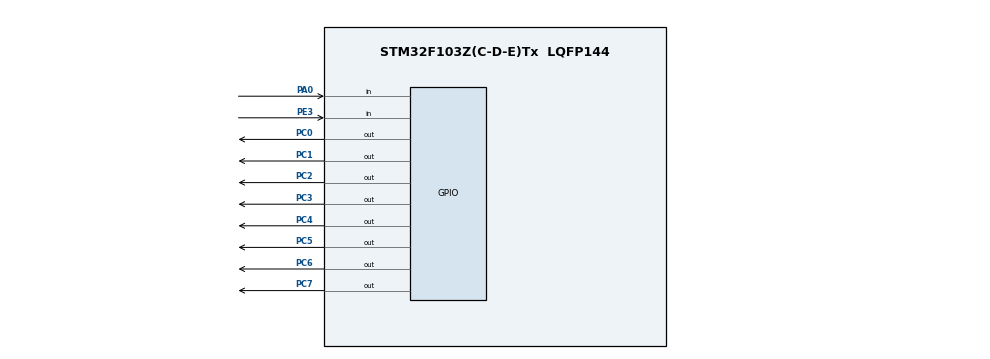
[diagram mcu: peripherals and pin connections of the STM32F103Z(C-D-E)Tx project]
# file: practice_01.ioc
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FREERTOS.BinarySemaphores01=myBinarySem01,Dynamic,NULL
FREERTOS.Queues01=myQueue01,16,uint16_t,0,Dynamic,NULL,NULL
FREERTOS.Tasks01=defaultTask,24,128,StartDefaultTask,Default,NULL,Dynamic,NULL,NULL;myTask02,40,128,StartTask02,Default,NULL,Dynamic,NULL,NULL;myTask03,8,128,StartTask03,Default,NULL,Dynamic,NULL,NULL;myTask04,8,128,StartTask04,Default,NULL,Dynamic,NULL,NULL
Mcu.Family=STM32F1
Mcu.Name=STM32F103Z(C-D-E)Tx
Mcu.Package=LQFP144
NVIC.PriorityGroup=NVIC_PRIORITYGROUP_4
PA0-WKUP.GPIO_PuPd=GPIO_PULLDOWN
PA0-WKUP.Signal=GPIO_Input
PC0.Signal=GPIO_Output
PC1.Signal=GPIO_Output
PC2.Signal=GPIO_Output
PC3.Signal=GPIO_Output
PC4.Signal=GPIO_Output
PC5.Signal=GPIO_Output
PC6.Signal=GPIO_Output
PC7.Signal=GPIO_Output
PE3.GPIO_PuPd=GPIO_PULLUP
PE3.Signal=GPIO_Input
ProjectManager.HeapSize=0x200
ProjectManager.StackSize=0x400
ProjectManager.TargetToolchain=STM32CubeIDE
RCC.APB1Freq_Value=8000000
RCC.APB2Freq_Value=8000000
VP_FREERTOS_VS_CMSIS_V2.Mode=CMSIS_V2
VP_SYS_VS_ND.Mode=No_Debug
board=custom

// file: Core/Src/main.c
/* USER CODE BEGIN Header */
/**
  ******************************************************************************
  * @file           : main.c
  * @brief          : Main program body
  ******************************************************************************
  * @attention
  *
  * Copyright (c) 2023 STMicroelectronics.
  * All rights reserved.
  *
  * This software is licensed under terms that can be found in the LICENSE file
  * in the root directory of this software component.
  * If no LICENSE file comes with this software, it is provided AS-IS.
  *
  ******************************************************************************
  */
/* USER CODE END Header */
#include "main.h"
#include "cmsis_os.h"

/* USER CODE BEGIN PD */
int counter = 0;

const int digit[7][10] = {
		{1,0,1,1,0,1,1,1,1,1},
		{1,1,1,1,1,0,0,1,1,1},
		{1,1,0,1,1,1,1,1,1,1},
		{1,0,1,1,0,1,1,0,1,1},
		{1,0,1,0,0,0,1,0,1,0},
		{1,0,0,0,1,1,1,0,1,1},
		{0,0,1,1,1,1,1,0,1,1}
};
/* USER CODE END PD */

/* Definitions for defaultTask */
osThreadId_t defaultTaskHandle;
const osThreadAttr_t defaultTask_attributes = {
  .name = "defaultTask",
  .stack_size = 128 * 4,
  .priority = (osPriority_t) osPriorityNormal,
};
/* Definitions for myTask02 */
osThreadId_t myTask02Handle;
const osThreadAttr_t myTask02_attributes = {
  .name = "myTask02",
  .stack_size = 128 * 4,
  .priority = (osPriority_t) osPriorityHigh,
};
/* Definitions for myTask03 */
osThreadId_t myTask03Handle;
const osThreadAttr_t myTask03_attributes = {
  .name = "myTask03",
  .stack_size = 128 * 4,
  .priority = (osPriority_t) osPriorityLow,
};
/* Definitions for myTask04 */
osThreadId_t myTask04Handle;
const osThreadAttr_t myTask04_attributes = {
  .name = "myTask04",
  .stack_size = 128 * 4,
  .priority = (osPriority_t) osPriorityLow,
};
/* Definitions for myQueue01 */
osMessageQueueId_t myQueue01Handle;
const osMessageQueueAttr_t myQueue01_attributes = {
  .name = "myQueue01"
};
/* Definitions for myBinarySem01 */
osSemaphoreId_t myBinarySem01Handle;
const osSemaphoreAttr_t myBinarySem01_attributes = {
  .name = "myBinarySem01"
};

void SystemClock_Config(void);
static void MX_GPIO_Init(void);
void StartDefaultTask(void *argument);
void StartTask02(void *argument);
void StartTask03(void *argument);
void StartTask04(void *argument);

int main(void)
{

  /* MCU Configuration--------------------------------------------------------*/

  /* Reset of all peripherals, Initializes the Flash interface and the Systick. */
  HAL_Init();

  /* Configure the system clock */
  SystemClock_Config();

  /* Initialize all configured peripherals */
  MX_GPIO_Init();

  /* Init scheduler */
  osKernelInitialize();

  /* Create the semaphores(s) */
  /* creation of myBinarySem01 */
  myBinarySem01Handle = osSemaphoreNew(1, 1, &myBinarySem01_attributes);

  /* Create the queue(s) */
  /* creation of myQueue01 */
  myQueue01Handle = osMessageQueueNew (16, sizeof(uint16_t), &myQueue01_attributes);

  /* Create the thread(s) */
  /* creation of defaultTask */
  defaultTaskHandle = osThreadNew(StartDefaultTask, NULL, &defaultTask_attributes);

  /* creation of myTask02 */
  myTask02Handle = osThreadNew(StartTask02, NULL, &myTask02_attributes);

  /* creation of myTask03 */
  myTask03Handle = osThreadNew(StartTask03, NULL, &myTask03_attributes);

  /* creation of myTask04 */
  myTask04Handle = osThreadNew(StartTask04, NULL, &myTask04_attributes);

  /* Start scheduler */
  osKernelStart();

  /* We should never get here as control is now taken by the scheduler */
  /* Infinite loop */
  while (1)
  {

  }
}

void SystemClock_Config(void)
{
  RCC_OscInitTypeDef RCC_OscInitStruct = {0};
  RCC_ClkInitTypeDef RCC_ClkInitStruct = {0};

  /** Initializes the RCC Oscillators according to the specified parameters
  * in the RCC_OscInitTypeDef structure.
  */
  RCC_OscInitStruct.OscillatorType = RCC_OSCILLATORTYPE_HSI;
  RCC_OscInitStruct.HSIState = RCC_HSI_ON;
  RCC_OscInitStruct.HSICalibrationValue = RCC_HSICALIBRATION_DEFAULT;
  RCC_OscInitStruct.PLL.PLLState = RCC_PLL_NONE;
  if (HAL_RCC_OscConfig(&RCC_OscInitStruct) != HAL_OK)
  {
    Error_Handler();
  }

  /** Initializes the CPU, AHB and APB buses clocks
  */
  RCC_ClkInitStruct.ClockType = RCC_CLOCKTYPE_HCLK|RCC_CLOCKTYPE_SYSCLK
                              |RCC_CLOCKTYPE_PCLK1|RCC_CLOCKTYPE_PCLK2;
  RCC_ClkInitStruct.SYSCLKSource = RCC_SYSCLKSOURCE_HSI;
  RCC_ClkInitStruct.AHBCLKDivider = RCC_SYSCLK_DIV1;
  RCC_ClkInitStruct.APB1CLKDivider = RCC_HCLK_DIV1;
  RCC_ClkInitStruct.APB2CLKDivider = RCC_HCLK_DIV1;

  if (HAL_RCC_ClockConfig(&RCC_ClkInitStruct, FLASH_LATENCY_0) != HAL_OK)
  {
    Error_Handler();
  }
}

static void MX_GPIO_Init(void)
{
  GPIO_InitTypeDef GPIO_InitStruct = {0};

  /* GPIO Ports Clock Enable */
  __HAL_RCC_GPIOE_CLK_ENABLE();
  __HAL_RCC_GPIOC_CLK_ENABLE();
  __HAL_RCC_GPIOA_CLK_ENABLE();

  /*Configure GPIO pin Output Level */
  HAL_GPIO_WritePin(GPIOC, GPIO_PIN_0|GPIO_PIN_1|GPIO_PIN_2|GPIO_PIN_3
                          |GPIO_PIN_4|GPIO_PIN_5|GPIO_PIN_6|GPIO_PIN_7, GPIO_PIN_RESET);

  /*Configure GPIO pin : PE3 */
  GPIO_InitStruct.Pin = GPIO_PIN_3;
  GPIO_InitStruct.Mode = GPIO_MODE_INPUT;
  GPIO_InitStruct.Pull = GPIO_PULLUP;
  HAL_GPIO_Init(GPIOE, &GPIO_InitStruct);

  /*Configure GPIO pins : PC0 PC1 PC2 PC3
                           PC4 PC5 PC6 PC7 */
  GPIO_InitStruct.Pin = GPIO_PIN_0|GPIO_PIN_1|GPIO_PIN_2|GPIO_PIN_3
                          |GPIO_PIN_4|GPIO_PIN_5|GPIO_PIN_6|GPIO_PIN_7;
  GPIO_InitStruct.Mode = GPIO_MODE_OUTPUT_PP;
  GPIO_InitStruct.Pull = GPIO_NOPULL;
  GPIO_InitStruct.Speed = GPIO_SPEED_FREQ_LOW;
  HAL_GPIO_Init(GPIOC, &GPIO_InitStruct);

  /*Configure GPIO pin : PA0 */
  GPIO_InitStruct.Pin = GPIO_PIN_0;
  GPIO_InitStruct.Mode = GPIO_MODE_INPUT;
  GPIO_InitStruct.Pull = GPIO_PULLDOWN;
  HAL_GPIO_Init(GPIOA, &GPIO_InitStruct);

}

/* USER CODE BEGIN 4 */
void HAL_GPIO_EXTI_Callback(uint16_t GPIO_Pin)
{
//  if(GPIO_Pin == GPIO_PIN_0)
//  {
//	  if(counter < 9)
//		  counter++;
//  } else if (GPIO_Pin == GPIO_PIN_3)
//  {
//	  if(counter > 0)
//		  counter--;
//  }

/*  HAL_GPIO_WritePin(GPIOC, GPIO_PIN_0, digit[0][counter]^1);
  HAL_GPIO_WritePin(GPIOC, GPIO_PIN_1, digit[1][counter]^1);
  HAL_GPIO_WritePin(GPIOC, GPIO_PIN_2, digit[2][counter]^1);
  HAL_GPIO_WritePin(GPIOC, GPIO_PIN_3, digit[3][counter]^1);
  HAL_GPIO_WritePin(GPIOC, GPIO_PIN_4, digit[4][counter]^1);
  HAL_GPIO_WritePin(GPIOC, GPIO_PIN_5, digit[5][counter]^1);
  HAL_GPIO_WritePin(GPIOC, GPIO_PIN_6, digit[6][counter]^1);*/

  // HAL_GPIO_WritePin(GPIOC, GPIO_PIN_7, GPIO_PIN_SET);
}

/* USER CODE END 4 */

void StartDefaultTask(void *argument)
{
  /* USER CODE BEGIN 5 */
  /* Infinite loop */
  for(;;)
  {
     if(HAL_GPIO_ReadPin(GPIOA, GPIO_PIN_0) == GPIO_PIN_SET)
	 {
    	 if(counter < 9)
    		 counter++;

    	 osMessageQueuePut(myQueue01Handle, &counter, 1, osWaitForever);
    	 osSemaphoreRelease(myBinarySem01Handle);
	 }
	 osDelay(500);
  }
  /* USER CODE END 5 */
}

void StartTask02(void *argument)
{
  /* USER CODE BEGIN StartTask02 */
  /* Infinite loop */
  for(;;)
  {
	  if(HAL_GPIO_ReadPin(GPIOE, GPIO_PIN_3) == GPIO_PIN_RESET)
	  {
		  if(counter > 0)
		  {
		 	counter--;
		 	osMessageQueuePut(myQueue01Handle, &counter, 1, osWaitForever);
		  }
	  }
	  osDelay(500);
  }
  /* USER CODE END StartTask02 */
}

void StartTask03(void *argument)
{
  /* USER CODE BEGIN StartTask03 */
  /* Infinite loop */
  for(;;)
  {
	osDelay(1);
	osSemaphoreAcquire(myBinarySem01Handle, osWaitForever);
	HAL_GPIO_TogglePin(GPIOC, GPIO_PIN_7);
  }
  // osThreadTerminate(NULL);
  /* USER CODE END StartTask03 */
}

void StartTask04(void *argument)
{
  /* USER CODE BEGIN StartTask04 */
  /* Infinite loop */
  osStatus_t status;
  for(;;)
  {
    osDelay(1);
    status = osMessageQueueGet(myQueue01Handle, &counter, NULL, osWaitForever);
    if(status == osOK)
    {
		HAL_GPIO_WritePin(GPIOC, GPIO_PIN_0, digit[0][counter]^1);
		HAL_GPIO_WritePin(GPIOC, GPIO_PIN_1, digit[1][counter]^1);
		HAL_GPIO_WritePin(GPIOC, GPIO_PIN_2, digit[2][counter]^1);
		HAL_GPIO_WritePin(GPIOC, GPIO_PIN_3, digit[3][counter]^1);
		HAL_GPIO_WritePin(GPIOC, GPIO_PIN_4, digit[4][counter]^1);
		HAL_GPIO_WritePin(GPIOC, GPIO_PIN_5, digit[5][counter]^1);
		HAL_GPIO_WritePin(GPIOC, GPIO_PIN_6, digit[6][counter]^1);
    }
  }
  /* USER CODE END StartTask04 */
}

void Error_Handler(void)
{
  __disable_irq();
  while (1)
  {
  }
}
